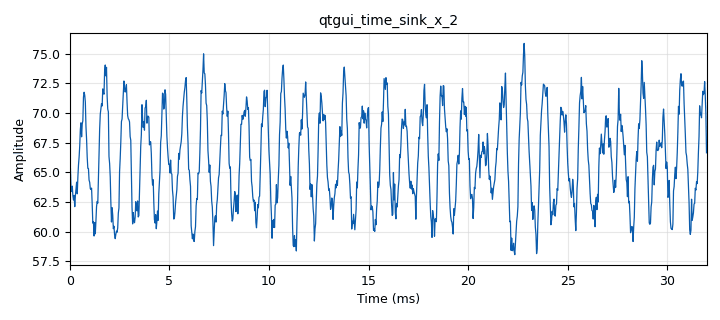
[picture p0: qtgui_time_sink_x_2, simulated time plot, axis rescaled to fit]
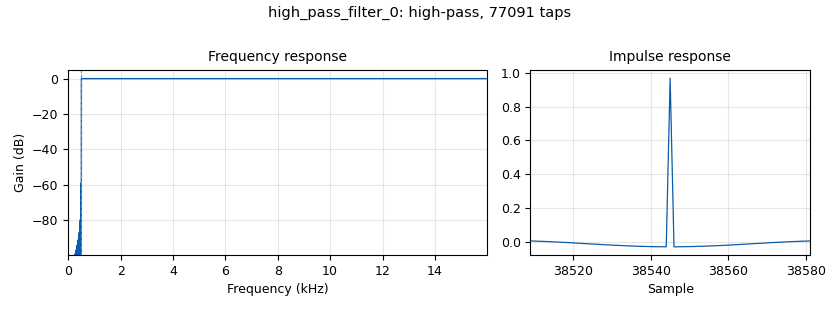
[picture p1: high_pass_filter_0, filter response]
options:
  parameters:
    generate_options: qt_gui
    id: diagramaBloques
    output_language: python
    title: Practica_1
  states: {}

blocks:
- name: samp_rate
  id: variable
  parameters:
    value: '32000'
  states: {}
- name: Acumulador
  id: qtgui_number_sink
  parameters:
    graph_type: qtgui.NUM_GRAPH_HORIZ
    type: float
  states: {state: disabled}
- name: Desviacion_Estandar
  id: qtgui_number_sink
  parameters:
    graph_type: qtgui.NUM_GRAPH_HORIZ
    max: '2'
    type: float
  states: {state: disabled}
- name: E3TRadio_sumador_0
  id: E3TRadio_sumador
  parameters: {}
  states: {state: disabled}
- name: Media
  id: qtgui_number_sink
  parameters:
    graph_type: qtgui.NUM_GRAPH_HORIZ
    type: float
  states: {state: disabled}
- name: Media_Cuadratica
  id: qtgui_number_sink
  parameters:
    graph_type: qtgui.NUM_GRAPH_HORIZ
    type: float
  states: {state: disabled}
- name: Potencia_Promedio
  id: qtgui_number_sink
  parameters:
    graph_type: qtgui.NUM_GRAPH_HORIZ
    type: float
  states: {state: disabled}
- name: RMS
  id: qtgui_number_sink
  parameters:
    graph_type: qtgui.NUM_GRAPH_HORIZ
    type: float
  states: {state: disabled}
- name: Salida_Acum
  id: qtgui_number_sink
  parameters:
    autoscale: 'True'
    color1: ("blue", "red")
    factor1: '2'
    graph_type: qtgui.NUM_GRAPH_HORIZ
    label1: Acumulador
    type: float
  states: {state: disabled}
- name: Salida_Dif
  id: qtgui_number_sink
  parameters:
    color1: ("black", "red")
    factor1: '2'
    graph_type: qtgui.NUM_GRAPH_HORIZ
    label1: Diferenciador
    type: float
  states: {state: disabled}
- name: Salida_Mean
  id: qtgui_number_sink
  parameters:
    color1: ("white", "black")
    factor1: '2'
    graph_type: qtgui.NUM_GRAPH_HORIZ
    type: float
  states: {state: disabled}
- name: Salida_Mean_0
  id: qtgui_number_sink
  parameters:
    color1: ("white", "black")
    factor1: '2'
    graph_type: qtgui.NUM_GRAPH_HORIZ
    type: float
  states: {}
- name: analog_noise_source_x_0
  id: analog_noise_source_x
  parameters:
    amp: '1'
    noise_type: analog.GR_IMPULSE
    seed: '0'
    type: float
  states: {state: disabled}
- name: analog_noise_source_x_1
  id: analog_noise_source_x
  parameters:
    amp: '100e-3'
    noise_type: analog.GR_GAUSSIAN
    seed: '0'
    type: float
  states: {state: disabled}
- name: analog_noise_source_x_2
  id: analog_noise_source_x
  parameters:
    amp: '1'
    noise_type: analog.GR_GAUSSIAN
    seed: '0'
    type: float
  states: {}
- name: analog_random_source_x_0
  id: analog_random_source_x
  parameters:
    max: '2'
    min: '0'
    num_samps: '1000'
    repeat: 'True'
    type: int
  states: {state: disabled}
- name: analog_sig_source_x_0
  id: analog_sig_source_x
  parameters:
    amp: '1'
    freq: '1000'
    offset: '0'
    phase: '0'
    samp_rate: samp_rate
    type: float
    waveform: analog.GR_COS_WAVE
  states: {state: disabled}
- name: analog_sig_source_x_1
  id: analog_sig_source_x
  parameters:
    amp: '1'
    freq: '2000'
    offset: '-0.5'
    phase: '0'
    samp_rate: samp_rate
    type: float
    waveform: analog.GR_SQR_WAVE
  states: {state: disabled}
- name: analog_sig_source_x_2
  id: analog_sig_source_x
  parameters:
    amp: '1'
    freq: '1000'
    offset: '0'
    phase: '0'
    samp_rate: samp_rate
    type: float
    waveform: analog.GR_COS_WAVE
  states: {}
- name: blocks_add_xx_0
  id: blocks_add_xx
  parameters:
    type: float
  states: {state: disabled}
- name: blocks_add_xx_1
  id: blocks_add_xx
  parameters:
    type: float
  states: {}
- name: blocks_int_to_float_0
  id: blocks_int_to_float
  parameters:
    scale: '1'
  states: {state: disabled}
- name: blocks_sub_xx_0
  id: blocks_sub_xx
  parameters:
    type: float
  states: {}
- name: blocks_throttle2_0
  id: blocks_throttle2
  parameters:
    samples_per_second: samp_rate
    type: float
  states: {state: disabled}
- name: blocks_vector_source_x_0
  id: blocks_vector_source_x
  parameters:
    repeat: 'True'
    type: float
    vector: (1, 2, -1)
  states: {state: disabled}
- name: blocks_vector_source_x_1
  id: blocks_vector_source_x
  parameters:
    repeat: 'True'
    type: float
    vector: (1, 1, 1)
  states: {state: disabled}
- name: diferenciador
  id: qtgui_number_sink
  parameters:
    graph_type: qtgui.NUM_GRAPH_HORIZ
    type: float
  states: {state: disabled}
- name: epy_block_0
  id: epy_block
  parameters:
    _source_code: |
      """
      Embedded Python Blocks:

      LAB_2 --> Practica_1 --> Bloque Acumulador
      """

      import numpy as np
      from gnuradio import gr
      class blk (gr. sync_block ):
      	def __init__ ( self ) : # only default arguments here
      		gr. sync_block . __init__ (
      		self ,
      		name ="e_Acum", # will show up in GRC
      		in_sig =[ np. float32 ],
      		out_sig =[ np. float32 ]
      	)
      	def work (self , input_items , output_items ):
      		x = input_items [0] # Senial de entrada .
      		y0 = output_items [0] # Senial acumulada
      		y0 [:] = np. cumsum (x)
      		#y0 [:] = len(x)
      		return len (y0)
  states: {state: disabled}
- name: epy_block_0_0
  id: epy_block
  parameters:
    _source_code: |
      """
      Embedded Python Blocks:

      LAB_2 --> Practica_1 --> Bloque Acumulador
      """

      import numpy as np
      from gnuradio import gr
      class blk (gr. sync_block ):
      	def __init__ ( self ) : # only default arguments here
      		gr. sync_block . __init__ (
      		self ,
      		name ="e_Acum", # will show up in GRC
      		in_sig =[ np. float32 ],
      		out_sig =[ np. float32 ]
      	)
      	def work (self , input_items , output_items ):
      		x = input_items [0] # Senial de entrada .
      		y0 = output_items [0] # Senial acumulada
      		y0 [:] = np. cumsum (x)
      		#y0 [:] = len(x)
      		return len (y0)
  states: {state: disabled}
- name: epy_block_0_0_0
  id: epy_block
  parameters:
    _source_code: |
      """
      Embedded Python Blocks:

      LAB_2 --> Practica_1 --> Bloque Acumulador
      """

      import numpy as np
      from gnuradio import gr
      class blk (gr. sync_block ):
      	def __init__ ( self ) : # only default arguments here
      		gr. sync_block . __init__ (
      		self ,
      		name ="e_Acum", # will show up in GRC
      		in_sig =[ np. float32 ],
      		out_sig =[ np. float32 ]
      	)
      	def work (self , input_items , output_items ):
      		x = input_items [0] # Senial de entrada .
      		y0 = output_items [0] # Senial acumulada
      		y0 [:] = np. cumsum (x)
      		#y0 [:] = len(x)
      		return len (y0)
  states: {state: disabled}
- name: epy_block_1
  id: epy_block
  parameters:
    _source_code: |
      """
      Embedded Python Blocks:

      Bloque para hallar promedios de tiempo.
      """

      import numpy as np
      from gnuradio import gr
      class blk (gr. sync_block ):
      	def __init__ ( self ) : # only default arguments here
      		gr. sync_block . __init__ (
      			self ,
      			name =" Promedios_de_tiempos ", # will show up in GRC
      			in_sig =[ np. float32 ],
      			out_sig =[ np. float32 ,np. float32 ,np. float32 ,np. float32 ,np. float32 ]
      		)
      		self . acum_anterior = 0
      		self . Ntotales = 0
      		self . acum_anterior1 = 0
      		self . acum_anterior2 = 0
      	def work (self , input_items , output_items ):
      		x = input_items [0] # Senial de entrada .
      		y0 = output_items [0] # Promedio de la senial
      		y1 = output_items [1] # Media de la senial
      		y2 = output_items [2] # RMS de la senial
      		y3 = output_items [3] # Potencia promedio de la senial
      		y4 = output_items [4] # Desviacion estandar de la senial
      		# Calculo del promedio
      		N = len (x)
      		self . Ntotales = self . Ntotales + N
      		acumulado = self . acum_anterior + np. cumsum (x)
      		self . acum_anterior = acumulado [N -1]
      		y0 [:]= acumulado / self . Ntotales
      		# Calculo de la media cuadratica
      		x2=np. multiply (x,x)
      		acumulado1 = self . acum_anterior1 + np. cumsum (x2)
      		self . acum_anterior1 = acumulado [N -1]
      		y1 [:] = acumulado1 / self . Ntotales
      		# Calculo de la RMS
      		y2 [:] = np. sqrt (y1)
      		# Calculo de la potencia promedio
      		y3 [:] = np. multiply (y2 ,y2)
      		# Calculo de la desviacion estandar
      		x3 = np. multiply (x-y0 ,x-y0)
      		acumulado2 = self . acum_anterior2 + np. cumsum (x3)
      		self . acum_anterior2 = acumulado2 [N -1]
      		y4 [:] = np. sqrt ( acumulado2 / self . Ntotales )
      		return len (x)
  states: {state: disabled}
- name: epy_block_2
  id: epy_block
  parameters:
    _source_code: |
      """
      Embedded Python Blocks:

      Bloque Diferenciador
      """

      import numpy as np
      from gnuradio import gr
      class blk (gr. sync_block ):
      	def __init__ ( self ) : # only default arguments here
      		gr. sync_block . __init__ (
      			self ,
      			name ="e_Diff", # will show up in GRC
      			in_sig =[ np. float32 ],
      			out_sig =[ np. float32 ]
      		)
      		self . acum_anterior = 0
      	def work (self , input_items , output_items ):
      		x = input_items [0] # Senial de entrada .
      		y0 = output_items [0] # Senial acumulada diferencial
      		N = len (x)
      		diff = np. cumsum (x) - self . acum_anterior
      		self . acum_anterior = diff [N -1]
      		y0 [:] = diff
      		# y0 [:] = len(y0)
      		return len (y0)
  states: {state: disabled}
- name: epy_block_2_0
  id: epy_block
  parameters:
    _source_code: |
      """
      Embedded Python Blocks:

      Bloque Diferenciador
      """

      import numpy as np
      from gnuradio import gr
      class blk (gr. sync_block ):
      	def __init__ ( self ) : # only default arguments here
      		gr. sync_block . __init__ (
      			self ,
      			name ="e_Diff", # will show up in GRC
      			in_sig =[ np. float32 ],
      			out_sig =[ np. float32 ]
      		)
      		self . acum_anterior = 0
      	def work (self , input_items , output_items ):
      		x = input_items [0] # Senial de entrada .
      		y0 = output_items [0] # Senial acumulada diferencial
      		N = len (x)
      		diff = np. cumsum (x) - self . acum_anterior
      		self . acum_anterior = diff [N -1]
      		y0 [:] = diff
      		# y0 [:] = len(y0)
      		return len (y0)
  states: {state: disabled}
- name: epy_block_2_0_0
  id: epy_block
  parameters:
    _source_code: |
      """
      Embedded Python Blocks:

      Bloque Diferenciador
      """

      import numpy as np
      from gnuradio import gr
      class blk (gr. sync_block ):
      	def __init__ ( self ) : # only default arguments here
      		gr. sync_block . __init__ (
      			self ,
      			name ="e_Diff", # will show up in GRC
      			in_sig =[ np. float32 ],
      			out_sig =[ np. float32 ]
      		)
      		self . acum_anterior = 0
      	def work (self , input_items , output_items ):
      		x = input_items [0] # Senial de entrada .
      		y0 = output_items [0] # Senial acumulada diferencial
      		N = len (x)
      		diff = np. cumsum (x) - self . acum_anterior
      		self . acum_anterior = diff [N -1]
      		y0 [:] = diff
      		# y0 [:] = len(y0)
      		return len (y0)
  states: {state: disabled}
- name: epy_block_2_0_1
  id: epy_block
  parameters:
    _source_code: |
      """
      Embedded Python Blocks:

      Bloque Diferenciador
      """

      import numpy as np
      from gnuradio import gr
      class blk (gr. sync_block ):
      	def __init__ ( self ) : # only default arguments here
      		gr. sync_block . __init__ (
      			self ,
      			name ="e_Diff", # will show up in GRC
      			in_sig =[ np. float32 ],
      			out_sig =[ np. float32 ]
      		)
      		self . acum_anterior = 0
      	def work (self , input_items , output_items ):
      		x = input_items [0] # Senial de entrada .
      		y0 = output_items [0] # Senial acumulada diferencial
      		N = len (x)
      		diff = np. cumsum (x) - self . acum_anterior
      		self . acum_anterior = diff [N -1]
      		y0 [:] = diff
      		# y0 [:] = len(y0)
      		return len (y0)
  states: {}
- name: high_pass_filter_0
  id: high_pass_filter
  parameters:
    cutoff_freq: '500'
    gain: '1'
    interp: '1'
    samp_rate: samp_rate
    type: interp_fir_filter_fff
    width: '1'
    win: window.WIN_HAMMING
  states: {}
- name: qtgui_time_sink_x_0
  id: qtgui_time_sink_x
  parameters:
    size: '1024'
    srate: samp_rate
    type: float
  states: {state: disabled}
- name: qtgui_time_sink_x_1
  id: qtgui_time_sink_x
  parameters:
    autoscale: 'True'
    grid: 'True'
    label1: Acumulador
    size: '2048'
    srate: samp_rate
    type: float
    width1: '2'
  states: {state: disabled}
- name: qtgui_time_sink_x_1_0
  id: qtgui_time_sink_x
  parameters:
    autoscale: 'True'
    color1: red
    grid: 'True'
    label1: Diferenciador
    size: '4096'
    srate: samp_rate
    type: float
    width1: '2'
  states: {state: disabled}
- name: qtgui_time_sink_x_1_0_0
  id: qtgui_time_sink_x
  parameters:
    autoscale: 'True'
    color1: green
    grid: 'True'
    label1: Media
    size: '2048'
    srate: samp_rate
    type: float
    width1: '2'
  states: {state: disabled}
- name: qtgui_time_sink_x_2
  id: qtgui_time_sink_x
  parameters:
    size: '1024'
    srate: samp_rate
    type: float
  states: {}

connections:
- [E3TRadio_sumador_0, '0', epy_block_0, '0']
- [analog_noise_source_x_0, '0', epy_block_2, '0']
- [analog_noise_source_x_1, '0', blocks_add_xx_0, '1']
- [analog_noise_source_x_2, '0', blocks_add_xx_1, '1']
- [analog_random_source_x_0, '0', blocks_int_to_float_0, '0']
- [analog_sig_source_x_0, '0', E3TRadio_sumador_0, '0']
- [analog_sig_source_x_1, '0', blocks_throttle2_0, '0']
- [analog_sig_source_x_1, '0', epy_block_0_0, '0']
- [analog_sig_source_x_1, '0', epy_block_2_0, '0']
- [analog_sig_source_x_2, '0', blocks_add_xx_1, '0']
- [blocks_add_xx_0, '0', epy_block_0_0, '0']
- [blocks_add_xx_0, '0', epy_block_2_0, '0']
- [blocks_add_xx_0, '0', epy_block_2_0_0, '0']
- [blocks_add_xx_1, '0', blocks_sub_xx_0, '0']
- [blocks_add_xx_1, '0', high_pass_filter_0, '0']
- [blocks_int_to_float_0, '0', E3TRadio_sumador_0, '1']
- [blocks_sub_xx_0, '0', Salida_Mean_0, '0']
- [blocks_throttle2_0, '0', blocks_add_xx_0, '0']
- [blocks_throttle2_0, '0', epy_block_0_0, '0']
- [blocks_throttle2_0, '0', epy_block_2_0, '0']
- [blocks_vector_source_x_0, '0', epy_block_1, '0']
- [epy_block_0, '0', Acumulador, '0']
- [epy_block_0, '0', qtgui_time_sink_x_0, '0']
- [epy_block_0_0, '0', Salida_Acum, '0']
- [epy_block_0_0, '0', qtgui_time_sink_x_1, '0']
- [epy_block_1, '0', Media, '0']
- [epy_block_1, '1', Media_Cuadratica, '0']
- [epy_block_1, '2', RMS, '0']
- [epy_block_1, '3', Potencia_Promedio, '0']
- [epy_block_1, '4', Desviacion_Estandar, '0']
- [epy_block_2, '0', diferenciador, '0']
- [epy_block_2_0, '0', Salida_Dif, '0']
- [epy_block_2_0, '0', qtgui_time_sink_x_1_0, '0']
- [epy_block_2_0_0, '0', Salida_Mean, '0']
- [epy_block_2_0_0, '0', qtgui_time_sink_x_1_0_0, '0']
- [epy_block_2_0_1, '0', blocks_sub_xx_0, '1']
- [epy_block_2_0_1, '0', qtgui_time_sink_x_2, '0']
- [high_pass_filter_0, '0', epy_block_2_0_1, '0']

metadata:
  file_format: 1
  grc_version: v3.11.0.0git-810-g1ecb8565
